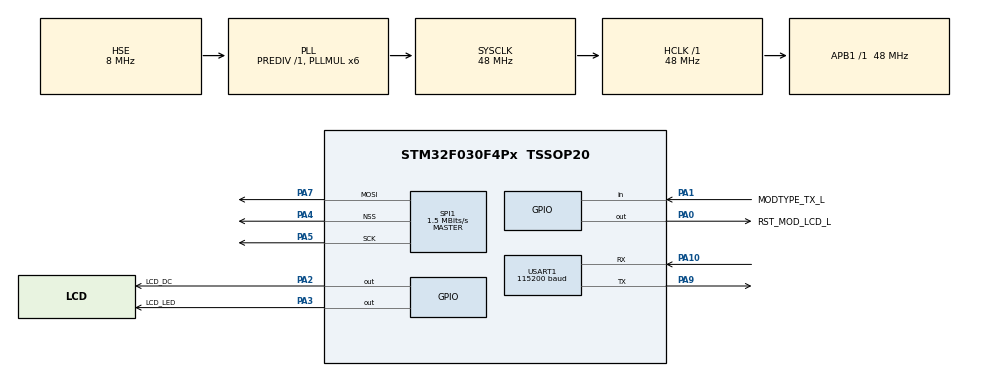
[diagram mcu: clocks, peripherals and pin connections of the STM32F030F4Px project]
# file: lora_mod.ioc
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Mcu.Family=STM32F0
Mcu.Name=STM32F030F4Px
Mcu.Package=TSSOP20
PA0.GPIO_Label=RST_MOD_LCD_L
PA0.Signal=GPIO_Output
PA1.GPIO_Label=MODTYPE_TX_L
PA1.Signal=GPIO_Input
PA10.Mode=Asynchronous
PA10.Signal=USART1_RX
PA13.Mode=Serial_Wire
PA13.Signal=SYS_SWDIO
PA14.Mode=Serial_Wire
PA14.Signal=SYS_SWCLK
PA2.GPIO_Label=LCD_DC
PA2.Signal=GPIO_Output
PA3.GPIO_Label=LCD_LED
PA3.Signal=GPIO_Output
PA4.Mode=NSS_Signal_Hard_Output
PA4.Signal=SPI1_NSS
PA5.Mode=TX_Only_Simplex_Unidirect_Master
PA5.Signal=SPI1_SCK
PA7.Mode=TX_Only_Simplex_Unidirect_Master
PA7.Signal=SPI1_MOSI
PA9.Mode=Asynchronous
PA9.Signal=USART1_TX
PF0-OSC_IN.Mode=HSE-External-Oscillator
PF0-OSC_IN.Signal=RCC_OSC_IN
PF1-OSC_OUT.Mode=HSE-External-Oscillator
PF1-OSC_OUT.Signal=RCC_OSC_OUT
ProjectManager.HeapSize=0x200
ProjectManager.StackSize=0x400
ProjectManager.TargetToolchain=EWARM V7
RCC.AHBFreq_Value=48000000
RCC.APB1Freq_Value=48000000
RCC.APB1TimFreq_Value=48000000
RCC.HCLKFreq_Value=48000000
RCC.PLLMUL=RCC_PLL_MUL6
RCC.PLLSourceVirtual=RCC_PLLSOURCE_HSE
RCC.SYSCLKFreq_VALUE=48000000
RCC.SYSCLKSource=RCC_SYSCLKSOURCE_PLLCLK
SPI1.BaudRatePrescaler=SPI_BAUDRATEPRESCALER_32
SPI1.CalculateBaudRate=1.5 MBits/s
SPI1.DataSize=SPI_DATASIZE_8BIT
SPI1.Direction=SPI_DIRECTION_2LINES
SPI1.Mode=SPI_MODE_MASTER
SPI1.VirtualNSS=VM_NSSHARD
SPI1.VirtualType=VM_MASTER
USART1.BaudRate=115200
USART1.DMADisableonRxErrorParam=ADVFEATURE_DMA_DISABLEONRXERROR
USART1.OverSampling=UART_OVERSAMPLING_8
USART1.OverrunDisableParam=ADVFEATURE_OVERRUN_DISABLE
USART1.VirtualMode-Asynchronous=VM_ASYNC
board=custom

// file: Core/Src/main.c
/**
  ******************************************************************************
  * @file           : main.c
  * @brief          : Main program body
  ******************************************************************************
  ** This notice applies to any and all portions of this file
  * that are not between comment pairs USER CODE BEGIN and
  * USER CODE END. Other portions of this file, whether
  * inserted by the user or by software development tools
  * are owned by their respective copyright owners.
  *
  * COPYRIGHT(c) 2018 STMicroelectronics
  *
  * Redistribution and use in source and binary forms, with or without modification,
  * are permitted provided that the following conditions are met:
  *   1. Redistributions of source code must retain the above copyright notice,
  *      this list of conditions and the following disclaimer.
  *   2. Redistributions in binary form must reproduce the above copyright notice,
  *      this list of conditions and the following disclaimer in the documentation
  *      and/or other materials provided with the distribution.
  *   3. Neither the name of STMicroelectronics nor the names of its contributors
  *      may be used to endorse or promote products derived from this software
  *      without specific prior written permission.
  *
  * THIS SOFTWARE IS PROVIDED BY THE COPYRIGHT HOLDERS AND CONTRIBUTORS "AS IS"
  * AND ANY EXPRESS OR IMPLIED WARRANTIES, INCLUDING, BUT NOT LIMITED TO, THE
  * IMPLIED WARRANTIES OF MERCHANTABILITY AND FITNESS FOR A PARTICULAR PURPOSE ARE
  * DISCLAIMED. IN NO EVENT SHALL THE COPYRIGHT HOLDER OR CONTRIBUTORS BE LIABLE
  * FOR ANY DIRECT, INDIRECT, INCIDENTAL, SPECIAL, EXEMPLARY, OR CONSEQUENTIAL
  * DAMAGES (INCLUDING, BUT NOT LIMITED TO, PROCUREMENT OF SUBSTITUTE GOODS OR
  * SERVICES; LOSS OF USE, DATA, OR PROFITS; OR BUSINESS INTERRUPTION) HOWEVER
  * CAUSED AND ON ANY THEORY OF LIABILITY, WHETHER IN CONTRACT, STRICT LIABILITY,
  * OR TORT (INCLUDING NEGLIGENCE OR OTHERWISE) ARISING IN ANY WAY OUT OF THE USE
  * OF THIS SOFTWARE, EVEN IF ADVISED OF THE POSSIBILITY OF SUCH DAMAGE.
  *
  ******************************************************************************
  */
#include "main.h"
#include "stm32f0xx_hal.h"

/* USER CODE BEGIN Includes */
#include <string.h>
#include "lcd.h"
#include "queue_buf.h"

#define DELAY_100MS (100)

#define QUEUE_BUF_RX_SIZE (128)
queue_buf_t lora_rx_q;
uint8_t lora_rx_buf[ QUEUE_BUF_RX_SIZE ];
#define STR_SIZE (128)
char str[ STR_SIZE ];

const char PACK_HEADER_TX[] = {"AT+SEND=60111,7,P="};
const char PACK_HEADER_RX[] = {"+RCV="};
char str_num[32];

typedef enum {GET_STR_NOT_FOUND=0, GET_STR_OK, GET_STR_NOT_END} get_str_result_t;
typedef enum { RESULT_MDM_P_OK=0, RESULT_MDM_P_ERROR, RESULT_MDM_P_SIMCARD } result_mdm_p_t;
typedef enum {TIR_WAIT=0, TIR_OUT=1} tir_e;                          // result return for delta intervals

#ifndef DEBUG_PROC
#define DEBUG_PROC 0
#endif

#ifndef DEBUG_TIME
#define DEBUG_TIME 0
#endif

const char RX_ERR[] = {"+ERR="};
const char CMD_AT[] = {"AT\r\n"};
const char RX_OK[]  = {"+OK\r"};

const char CMD_RESET[] ={"AT+RESET\r\n"};
//const char RX_RESET[] = {"+RESET\r"};
const char RX_RESET[] = {"RESET\r"};

const char CMD_MODE_TX[] = {"AT+MODE=0\r\n"};
//const char RX_MODE_TX[] = {"+MODE=0\r"};
const char RX_MODE_TX[] = {"+OK\r"};

const char CMD_PARAMETER[] = {"AT+PARAMETER=12,7,4,5\r\n"};
//const char RX_PARAMETER[] = {"+PARAMETER=12,7,4,5\r"};
const char RX_PARAMETER[] = {"+OK\r"};

//const char CMD_BAND[] ={"AT+BAND=868500000\r\n"};
const char CMD_BAND[] ={"AT+BAND=915000000\r\n"};
//const char RX_BAND[] ={"+BAND=868500000\r"};
const char RX_BAND[] ={"+OK\r"};

const char CMD_ADDRESS[] = {"AT+ADDRESS=60111\r\n"};
//const char RX_ADDRESS[] = {"+ADDRESS=60111\r"};
const char RX_ADDRESS[] = {"+OK\r"};

const char CMD_NETWORKID[] = {"AT+NETWORKID=5\r\n"};
//const char RX_NETWORKID[] = {"+NETWORKID=5\r"};
const char RX_NETWORKID[] = {"+OK\r"};

const char CMD_CPIN[] = {"AT+CPIN=FABC0A02EEDCAA90F0BC0002E5DCAA91\r\n"};
//const char RX_CPIN[] =    {"+CPIN=FABC0A02EEDCAA90F0BC0002E5DCAA91\r"};
const char RX_CPIN[] =    {"+OK\r"};

const char CMD_CRFOP[] = {"AT+CRFOP=15\r\n"};
//const char RX_CRFOP[] = {"+CRFOP=15\r"};
const char RX_CRFOP[] = {"+OK\r"};

typedef struct modem_init_st_t {
    const char * tx_str;                // stroka peredovaemaya komanda v modem
    const uint32_t time_out;            // vrema interval v tecenii kotorogo dolna poluchena stroka rx_str (ms)
    const char * rx_str;                // stroka prinimaemay is modema
    const struct modem_init_st_t * init_next;  // ukazatel na sleduuheu structuru IF str=rx_str
} modem_init_t;

const modem_init_t lora_init_start;
const modem_init_t m_i_reset;
const modem_init_t m_i_mode;
const modem_init_t m_i_parameter;
const modem_init_t m_i_band;
const modem_init_t m_i_address;
const modem_init_t m_i_networkid;
const modem_init_t m_i_cpin;
const modem_init_t m_i_crfop;
const modem_init_t m_i_null;

const modem_init_t lora_init_start = {
    .tx_str        = CMD_AT,
    .time_out      = 200,
    .rx_str        = RX_OK,
    .init_next     = &m_i_mode,
};

const modem_init_t m_i_reset = {
    .tx_str        = CMD_RESET,
    .time_out      = 200,
    .rx_str        = RX_RESET,
    .init_next     = &m_i_mode,
};

const modem_init_t m_i_mode = {
    .tx_str        = CMD_MODE_TX,
    .time_out      = 200,
    .rx_str        = RX_MODE_TX,
    .init_next     = &m_i_parameter,
};

const modem_init_t m_i_parameter = {
    .tx_str        = CMD_PARAMETER,
    .time_out      = 200,
    .rx_str        = RX_PARAMETER,
    .init_next     = &m_i_band,
};

const modem_init_t m_i_band = {
    .tx_str        = CMD_BAND,
    .time_out      = 200,
    .rx_str        = RX_BAND,
    .init_next     = &m_i_address,
};

const modem_init_t m_i_address = {
    .tx_str        = CMD_ADDRESS,
    .time_out      = 200,
    .rx_str        = RX_ADDRESS,
    .init_next     = &m_i_networkid,
};

const modem_init_t m_i_networkid = {
    .tx_str        = CMD_NETWORKID,
    .time_out      = 200,
    .rx_str        = RX_NETWORKID,
    .init_next     = &m_i_cpin,
};

const modem_init_t m_i_cpin = {
    .tx_str        = CMD_CPIN,
    .time_out      = 200,
    .rx_str        = RX_CPIN,
    .init_next     = &m_i_crfop,
};

const modem_init_t m_i_crfop = {
    .tx_str        = CMD_CRFOP,
    .time_out      = 200,
    .rx_str        = RX_CRFOP,
    .init_next     = &m_i_null,
};

const modem_init_t m_i_null = {
    .tx_str        = NULL,
    .time_out      = 0,
    .rx_str        = NULL,
    .init_next     = NULL,
};

/* USER CODE END Includes */

SPI_HandleTypeDef hspi1;

UART_HandleTypeDef huart1;

/* USER CODE BEGIN PV */
/* Private variables ---------------------------------------------------------*/

/* USER CODE END PV */

void SystemClock_Config(void);
static void MX_GPIO_Init(void);
static void MX_USART1_UART_Init(void);
static void MX_SPI1_Init(void);

/* USER CODE BEGIN PFP */
/* Private function prototypes -----------------------------------------------*/

/* USER CODE END PFP */

/* USER CODE BEGIN 0 */

void conv_uint16_to_str(char *s, uint16_t a)
{
    uint8_t i10000,i1000,i100,i10,i1;

    i10000=0;
    i1000=0;
    i100=0;
    i10=0;
    i1=0;

    while (a >= 10000){a=a-10000;i10000++;}
    while (a >= 1000){a=a-1000;i1000++;}
    while (a >= 100){a=a-100;i100++;}
    while (a >= 10){a=a-10;i10++;}
    while (a >= 1){a=a-1;i1++;}

    *(s + 0) = i10000 | 0x30;
    *(s + 1) = i1000 | 0x30;
    *(s + 2) = i100 | 0x30;
    *(s + 3) = i10 | 0x30;
    *(s + 4) = i1 | 0x30;
    *(s + 5) = 0x00;

}
//******************************************************************************
// Poluchenie Statusa - skolko vremeni prohlo s poslednego sobitiya.
// Status vichislaetcha kak raznost dT = (T tekushee)-(T sobitiya(prohloe))
// dalee if dT >= INTERVAL then return TIR_OUT else return TIR_WAIT
// Time = sec,ms & etc
//
// t_start - vrema nachala otchuta
// t_delay - interval
// t_cur   - tekushee vrema
//
//******************************************************************************
tir_e calcul_time_out( const uint32_t t_cur, const uint32_t t_start, const uint32_t t_delay )
{
	uint32_t t_delta;

	if (DEBUG_TIME) printf("Time start = %ul\n", t_start);
	if (DEBUG_TIME) printf("time cur   = %ul\n", t_cur);
	if (t_cur >= t_start){
		t_delta = t_cur - t_start;
	}else{
	        t_delta = (uint32_t)0xffffffffUL - t_start + t_cur;
	}
	if (DEBUG_TIME) printf("\nTIME DELTA=%ul   time interval =%ul\n", t_delta, t_delay);
	if (t_delta >= t_delay)
		return TIR_OUT;
	else
		return TIR_WAIT;
}

//******************************************************************************
// Функция задержка(Обертка)
//******************************************************************************
void delay_ms(uint32_t t)
{
    HAL_Delay(t);
}

//******************************************************************************
// Функция получения счетчика системный тиков(Обертка)
//******************************************************************************
uint32_t time_get_ms_counter(void)
{
    return HAL_GetTick();
}

//******************************************************************************
// Передача одного байта в порт (консоль)
// - теперь кладем в буфер и запускаем передачу !
//******************************************************************************
int hal_modem_write(const uint8_t *buf, const uint16_t size)
{
    HAL_UART_Transmit( &huart1, (uint8_t*)buf, size, 1000);
    return size;
}

/*****************************************************************************
 * Read from modem to structure qbuf
 *
*****************************************************************************/
int hal_modem_read(queue_buf_t *qbuf)
{
    QUEUE_VAR_TYPE f;                               // svobodnoe mesto v que buf

    __disable_irq();
    f = get_data_size_queue( qbuf );                 // vernuli kolichestvo dnih v buffere
    __enable_irq();

    return (int)f;
}

//******************************************************************************
/*
* function return String+\n iz kolchevogo buffer modema
* to qbuf_in => sout(sout_size)
* function return =
* GET_STR_OK:       stroka naydena
* GET_STR_NOT_FOUND:net stroki
*
* Ot modema v bufere nahodatcha stroki vida:
* 1. \r\nOK\r\n => return: OK\n
* 2. AT\n       => return: AT\n
*/
//******************************************************************************
static get_str_result_t get_string(queue_buf_t *qbuf_in, uint8_t *sout, const uint32_t sout_size)
{
    uint8_t c;
    int res;
    int sout_count = 0;       // kolicestvo byte v vihodnoy stroke
    int j = 0;                // counter kolichestva prohodov ohidaniya stroki ot modema
    const int J_MAX = 5;      // kolichestvo prohodov na sborky stroki iz chasteu (IF pri pervom prohode stroka sout okazalas ber koda '\r' v konche)
    QUEUE_VAR_TYPE dlen;      // Dlinna danih v kolchevom buffer modema
    int flag_overflow = 0;    // flag perepolneniya Stroki STR, pri etom zabiraem stroku polnostiu i udalaem ee, vozvrahaem GET_STR_NOT_FOUND

new_j:

    if (DEBUG_PROC) printf("get_string: prohod j=%d\n",j);

    res = hal_modem_read( qbuf_in );                            // pomeshaem v kolchevoy buffer byte prinatie ot modema
    if (DEBUG_PROC) printf("hal_modem_read size = %d bytes.\n",res);

    if (strlen((char*)sout)>0 && *(sout+strlen((char*)sout)-1) == '\r'){      // proverka stroka ne pustya + '\r' znachit ostavlaem ee kak est i novui ne dobovlaem
        if (DEBUG_PROC) printf("get_string: string gotova.\n");
        return GET_STR_OK;
    }

    if (DEBUG_PROC) dump_queue(qbuf_in->queue, qbuf_in->in, qbuf_in->out, qbuf_in->len);

    dlen = get_data_size_queue(qbuf_in);
    if (dlen == 0) goto exit;

    while (pop_data_queue_b(qbuf_in, &c) == 0){
        if (sout_count == (sout_size - 2)){                     // proverka str zapolnili polnostiu ili ostalos mesto tolko dla \r + \0 !!! PEREPOLNENIE STROKI
            flag_overflow = 1;
            if (DEBUG_PROC) printf("\nERROR: STR OVERFLOW sout_count=%d STR_SIZE=%d\n",sout_count, sout_size);
        }

        if (c == '\n')                                          // ignore this (\n) byte, ne dobovlaem v sout !
            continue;

        if (c == '\r'){                                         // spec simvol: Add (\r) k stroke sout, Stroka sout gotova ! i return this function
            if (strlen((char*)sout)){
                sout[sout_count] = c;
                if (flag_overflow > 0){                         // clear stroki (sout) t.k. ona ne pomestilas v buffer sout
                    memset(sout, 0, sout_size);
                    return GET_STR_NOT_FOUND;
                }else{
                    sout_count++;
                    return GET_STR_OK;
                }
           }else{
               continue;
           }
        }

        sout[sout_count] = c;                                   // Vse ostalnie byte -> add to sout string
        if (flag_overflow == 0)
            sout_count++;
    }//End while (pop_data_queue_b(qbuf_in, &c) == 0){

exit:

    if (DEBUG_PROC) printf("get_string: sout=%s\n sout len =%d\n", sout, strlen((char*)sout));

    // Proverka nalichiya v konche stroki '\r' ?
    // IF net '\r' zanchit stroka poluchena ne polnostyu !
    // delaem ehe popitku poluchit danie ot modema i zaverhit stroku
    // IF koluchestvo prohodov > MAX a str bez '\r' to vozvrashaem stroku BEZ '\r'
    if ( (strlen((char*)sout) > 0 && sout[strlen((char*)sout) - 1] != '\r' && j < J_MAX) || (strlen((char*)sout) == 0 && j < J_MAX)){
        if (DEBUG_PROC) printf("get_string: new prohod j=%d\n",j);
        j++;
        delay_ms(DELAY_100MS);
        goto new_j;
    }

    if (strlen((char*)sout))
        return GET_STR_OK;
    else
        return GET_STR_NOT_FOUND;
}

/*******************************************************************************
* Automat Modem Init
* Proizvodit init modema po structure modem_init_st_t
* input *modem_init_st_t
* return 0 - OK
*        1 - ERROR
*******************************************************************************/
result_mdm_p_t modem_init(struct queue_buf_type *modem_q_rx, struct modem_init_st_t * in, uint8_t *s_in, const uint32_t s_in_size)
{
    int f_cmd_tx_send = 0;                      // flag, flag = 1 komanda peredana modemu
    int res;
    uint32_t cur_sys_time;                          // sistemnoe vrema (ms)

    if (DEBUG_PROC) printf("---------------------------------------------------\n");
    if (DEBUG_PROC) printf("Modem Init.\n");

    while(1){
        if (in->tx_str == NULL && in->rx_str == NULL && in->init_next == NULL){ // uslovie okonchaniya inita modema
            return RESULT_MDM_P_OK;              // init ok
        }
        if (in->tx_str == NULL && in->rx_str == NULL && in->init_next != NULL){ // uslovie perehoda na init_next
                in = (struct modem_init_st_t *)in->init_next;
                f_cmd_tx_send = 0;
                memset(s_in, 0, s_in_size);       // stroku obrabotali chistim
                continue;
        }
        if ((f_cmd_tx_send == 0) && (in->tx_str != NULL)){
            if (DEBUG_PROC) printf("tx_str = %s\n",in->tx_str);
            res = hal_modem_write( (const uint8_t*)in->tx_str, strlen(in->tx_str));
            if (res < 0) return RESULT_MDM_P_ERROR; // error I/O
            delay_ms(DELAY_100MS);
            f_cmd_tx_send = 1;
        }
        if (in->time_out) delay_ms(in->time_out);

        cur_sys_time = time_get_ms_counter();           // tekuhee systemnoe vrema (ms)
        while(calcul_time_out( time_get_ms_counter(), cur_sys_time, in->time_out) == TIR_WAIT){
            if (get_string( modem_q_rx, s_in, s_in_size) == GET_STR_OK){
                break;
            }
        }
        if (strlen((char*)s_in) != 0){
            if (DEBUG_PROC) printf("---------------------------------------------------\n");
            if (DEBUG_PROC) printf("get_string      = %s\n", s_in);
            if (DEBUG_PROC) printf("get_string  len = %d\n", strlen((char*)s_in));
            if (DEBUG_PROC) printf("---------------------------------------------------\n");
            if (in->rx_str == NULL){ // bezuslovniy perehod na init_next
                if (DEBUG_PROC) printf("set NEXT = init_next (rx_str==NULL)\n");
                in = (struct modem_init_st_t *)in->init_next;
                f_cmd_tx_send = 0;
                memset(s_in, 0, s_in_size); // stroku obrabotali chistim
                continue;

            }
            if (DEBUG_PROC) printf("rx_str = %s\n", in->rx_str);
            if (strstr((const char*)s_in, in->rx_str) != 0){// stroka sovpadaet
                if (DEBUG_PROC) printf("set NEXT = init_next.\n");
                in = (struct modem_init_st_t *)in->init_next;
                f_cmd_tx_send = 0;
                memset(s_in, 0, s_in_size); // stroku obrabotali chistim
                continue;
            }
            // stroka ne sovpadaet - poluchaem novuu stroku
            memset(s_in, 0, s_in_size); // stroku obrabotali chistim
        }else{ // time out & str = 0
            return RESULT_MDM_P_ERROR; // init error
        }

    }//while(1);
}

/* USER CODE END 0 */

int main(void)
{
  /* USER CODE BEGIN 1 */
    get_str_result_t get_str_result;
    result_mdm_p_t res;
    uint16_t wait_cnt = 0;
    uint16_t pack_cnt = 0;

  /* USER CODE END 1 */

  /* MCU Configuration----------------------------------------------------------*/

  /* Reset of all peripherals, Initializes the Flash interface and the Systick. */
  HAL_Init();

  /* Configure the system clock */
  SystemClock_Config();

  /* Initialize all configured peripherals */
  MX_GPIO_Init();
  MX_USART1_UART_Init();
  MX_SPI1_Init();
  /* USER CODE BEGIN 2 */

  lora_rx_q.in = 0;
  lora_rx_q.out = 0;
  lora_rx_q.queue = lora_rx_buf;
  lora_rx_q.len = QUEUE_BUF_RX_SIZE;

  /* USART1 interrupt Init */
  HAL_NVIC_SetPriority(USART1_IRQn, 0, 0);
  HAL_NVIC_EnableIRQ(USART1_IRQn);
  __HAL_UART_ENABLE_IT( &huart1, UART_IT_RXNE);// Receive Data register not empty interrupt

  // reset LCD + LORA Modules
  HAL_GPIO_WritePin(GPIOA, RST_MOD_LCD_L_Pin, GPIO_PIN_RESET);
  HAL_Delay(30);
  HAL_GPIO_WritePin(GPIOA, RST_MOD_LCD_L_Pin, GPIO_PIN_SET);

  // Включить досветку
  HAL_GPIO_WritePin(GPIOA, LCD_LED_Pin, GPIO_PIN_SET);

  lcd_init();

  lcd_print(2,0,"LORA TRX v1.0",0);

  if ( HAL_GPIO_ReadPin( GPIOA, MODTYPE_TX_L_Pin) == GPIO_PIN_RESET) lcd_print(6,1,"_TX_",0);
  else lcd_print(6,1,"_RX_",0);

  lcd_print(0,3,"Init...",1);

  HAL_Delay(500);
  lora_rx_q.in = 0;
  lora_rx_q.out = 0;

  res = modem_init( &lora_rx_q, (struct modem_init_st_t*)&lora_init_start, (uint8_t*)str, STR_SIZE);
  if(res != RESULT_MDM_P_OK){
      lcd_print(0,4, "ERROR 1.",1);
      while(1);
  }

  lcd_print(0,3,"            ",1); // lora init clear

  if ( HAL_GPIO_ReadPin( GPIOA, MODTYPE_TX_L_Pin) == GPIO_PIN_RESET){
      goto tx_;
  }else{
      goto rx_;
  }

// RX --------------------------------------------------------------------------
rx_:
  wait_cnt = 0;
  lcd_print(0,3,"Message:",0);
  while(1){
      get_str_result = get_string( &lora_rx_q, (uint8_t*)str, STR_SIZE);
      wait_cnt++;

      memset(str_num, 0, sizeof(str_num));
      conv_uint16_to_str(str_num, wait_cnt);
      int i=0;
      while(str_num[i] == '0'){
          str_num[i] = ' ';
          i++;
      }
      lcd_print(0,2,"wait= ",0);
      lcd_print(5,2,str_num,1);

      if (get_str_result == GET_STR_NOT_END){
          lcd_print(0,5, "ERROR: str no end.",1);
      }

      if (get_str_result == GET_STR_OK){
          lcd_print(0,5, "         ",0); // clear error rx
          wait_cnt = 0;
          char *p = strstr(str, PACK_HEADER_RX);
          if (p != NULL ){
              wait_cnt = 0;
              memset(str_num, 0, strlen(str_num));
              memcpy(str_num, p + 13, strlen(p) - 13);
              lcd_print(0,4, str_num,0);
              lcd_print(0,5, "               ",1); // clear str ERR
              memset(str, 0, sizeof(str));
              continue;
          } // if

          p = strstr(str, RX_ERR);
          if (p != NULL){
              wait_cnt = 0;
              lcd_print(0,5, str,1); // print to ERR
              memset(str, 0, sizeof(str));
              memset(str_num, 0, strlen(str_num));
              continue;
          } // if

          lcd_print(0,5, "Rx string ???",1);
          memset(str, 0, sizeof(str));
          memset(str_num, 0, strlen(str_num));

      } // if
  }

// TX --------------------------------------------------------------------------
tx_:
  while(1){
      HAL_Delay(1000);
      pack_cnt++;
      memset(str_num, 0, sizeof(str_num));
      conv_uint16_to_str(str_num, pack_cnt);
      lcd_print(0,3,"P=",0);
      lcd_print(3,3,str_num,0);
      lcd_print(9,3,">",1);
      hal_modem_write((const uint8_t*)PACK_HEADER_TX, strlen(PACK_HEADER_TX));
      hal_modem_write((const uint8_t*)str_num, strlen(str_num));
      hal_modem_write("\r\n", strlen("\r\n"));

      wait_cnt = 0;
      while(((get_str_result = get_string( &lora_rx_q, (uint8_t*)str, STR_SIZE)) != GET_STR_OK) || wait_cnt != 10){
          HAL_Delay(500);
          wait_cnt++;
      }

      if (get_str_result != GET_STR_OK){
          lcd_print(4,2, "ERROR TX.",1);
      }
      if (strcmp(str, RX_OK) == 0 ){
          lcd_print(9,3," ",1); // CLEAR >
      }

  } // while(1)

  /* USER CODE END 2 */

  /* Infinite loop */
  while (1)
  {

  }

}

void SystemClock_Config(void)
{

  RCC_OscInitTypeDef RCC_OscInitStruct;
  RCC_ClkInitTypeDef RCC_ClkInitStruct;
  RCC_PeriphCLKInitTypeDef PeriphClkInit;

    /**Initializes the CPU, AHB and APB busses clocks
    */
  RCC_OscInitStruct.OscillatorType = RCC_OSCILLATORTYPE_HSE;
  RCC_OscInitStruct.HSEState = RCC_HSE_ON;
  RCC_OscInitStruct.PLL.PLLState = RCC_PLL_ON;
  RCC_OscInitStruct.PLL.PLLSource = RCC_PLLSOURCE_HSE;
  RCC_OscInitStruct.PLL.PLLMUL = RCC_PLL_MUL6;
  RCC_OscInitStruct.PLL.PREDIV = RCC_PREDIV_DIV1;
  if (HAL_RCC_OscConfig(&RCC_OscInitStruct) != HAL_OK)
  {
    _Error_Handler(__FILE__, __LINE__);
  }

    /**Initializes the CPU, AHB and APB busses clocks
    */
  RCC_ClkInitStruct.ClockType = RCC_CLOCKTYPE_HCLK|RCC_CLOCKTYPE_SYSCLK
                              |RCC_CLOCKTYPE_PCLK1;
  RCC_ClkInitStruct.SYSCLKSource = RCC_SYSCLKSOURCE_PLLCLK;
  RCC_ClkInitStruct.AHBCLKDivider = RCC_SYSCLK_DIV1;
  RCC_ClkInitStruct.APB1CLKDivider = RCC_HCLK_DIV1;

  if (HAL_RCC_ClockConfig(&RCC_ClkInitStruct, FLASH_LATENCY_1) != HAL_OK)
  {
    _Error_Handler(__FILE__, __LINE__);
  }

  PeriphClkInit.PeriphClockSelection = RCC_PERIPHCLK_USART1;
  PeriphClkInit.Usart1ClockSelection = RCC_USART1CLKSOURCE_PCLK1;
  if (HAL_RCCEx_PeriphCLKConfig(&PeriphClkInit) != HAL_OK)
  {
    _Error_Handler(__FILE__, __LINE__);
  }

    /**Configure the Systick interrupt time
    */
  HAL_SYSTICK_Config(HAL_RCC_GetHCLKFreq()/1000);

    /**Configure the Systick
    */
  HAL_SYSTICK_CLKSourceConfig(SYSTICK_CLKSOURCE_HCLK);

  /* SysTick_IRQn interrupt configuration */
  HAL_NVIC_SetPriority(SysTick_IRQn, 0, 0);
}

/* SPI1 init function */
static void MX_SPI1_Init(void)
{

  /* SPI1 parameter configuration*/
  hspi1.Instance = SPI1;
  hspi1.Init.Mode = SPI_MODE_MASTER;
  hspi1.Init.Direction = SPI_DIRECTION_2LINES;
  hspi1.Init.DataSize = SPI_DATASIZE_8BIT;
  hspi1.Init.CLKPolarity = SPI_POLARITY_LOW;
  hspi1.Init.CLKPhase = SPI_PHASE_1EDGE;
  hspi1.Init.NSS = SPI_NSS_HARD_OUTPUT;
  hspi1.Init.BaudRatePrescaler = SPI_BAUDRATEPRESCALER_32;
  hspi1.Init.FirstBit = SPI_FIRSTBIT_MSB;
  hspi1.Init.TIMode = SPI_TIMODE_DISABLE;
  hspi1.Init.CRCCalculation = SPI_CRCCALCULATION_DISABLE;
  hspi1.Init.CRCPolynomial = 7;
  hspi1.Init.CRCLength = SPI_CRC_LENGTH_DATASIZE;
  hspi1.Init.NSSPMode = SPI_NSS_PULSE_ENABLE;
  if (HAL_SPI_Init(&hspi1) != HAL_OK)
  {
    _Error_Handler(__FILE__, __LINE__);
  }

}

/* USART1 init function */
static void MX_USART1_UART_Init(void)
{

  huart1.Instance = USART1;
  huart1.Init.BaudRate = 115200;
  huart1.Init.WordLength = UART_WORDLENGTH_8B;
  huart1.Init.StopBits = UART_STOPBITS_1;
  huart1.Init.Parity = UART_PARITY_NONE;
  huart1.Init.Mode = UART_MODE_TX_RX;
  huart1.Init.HwFlowCtl = UART_HWCONTROL_NONE;
  huart1.Init.OverSampling = UART_OVERSAMPLING_8;
  huart1.Init.OneBitSampling = UART_ONE_BIT_SAMPLE_DISABLE;
  huart1.AdvancedInit.AdvFeatureInit = UART_ADVFEATURE_RXOVERRUNDISABLE_INIT|UART_ADVFEATURE_DMADISABLEONERROR_INIT;
  huart1.AdvancedInit.OverrunDisable = UART_ADVFEATURE_OVERRUN_DISABLE;
  huart1.AdvancedInit.DMADisableonRxError = UART_ADVFEATURE_DMA_DISABLEONRXERROR;
  if (HAL_UART_Init(&huart1) != HAL_OK)
  {
    _Error_Handler(__FILE__, __LINE__);
  }

}

/** Configure pins as
        * Analog
        * Input
        * Output
        * EVENT_OUT
        * EXTI
*/
static void MX_GPIO_Init(void)
{

  GPIO_InitTypeDef GPIO_InitStruct;

  /* GPIO Ports Clock Enable */
  __HAL_RCC_GPIOF_CLK_ENABLE();
  __HAL_RCC_GPIOA_CLK_ENABLE();

  /*Configure GPIO pin Output Level */
  HAL_GPIO_WritePin(GPIOA, RST_MOD_LCD_L_Pin|LCD_DC_Pin|LCD_LED_Pin, GPIO_PIN_RESET);

  /*Configure GPIO pins : RST_MOD_LCD_L_Pin LCD_DC_Pin LCD_LED_Pin */
  GPIO_InitStruct.Pin = RST_MOD_LCD_L_Pin|LCD_DC_Pin|LCD_LED_Pin;
  GPIO_InitStruct.Mode = GPIO_MODE_OUTPUT_PP;
  GPIO_InitStruct.Pull = GPIO_NOPULL;
  GPIO_InitStruct.Speed = GPIO_SPEED_FREQ_LOW;
  HAL_GPIO_Init(GPIOA, &GPIO_InitStruct);

  /*Configure GPIO pin : MODTYPE_TX_L_Pin */
  GPIO_InitStruct.Pin = MODTYPE_TX_L_Pin;
  GPIO_InitStruct.Mode = GPIO_MODE_INPUT;
  GPIO_InitStruct.Pull = GPIO_NOPULL;
  HAL_GPIO_Init(MODTYPE_TX_L_GPIO_Port, &GPIO_InitStruct);

}

void _Error_Handler(char *file, int line)
{
  while(1)
  {
  }
}

/************************ (C) COPYRIGHT STMicroelectronics *****END OF FILE****/
